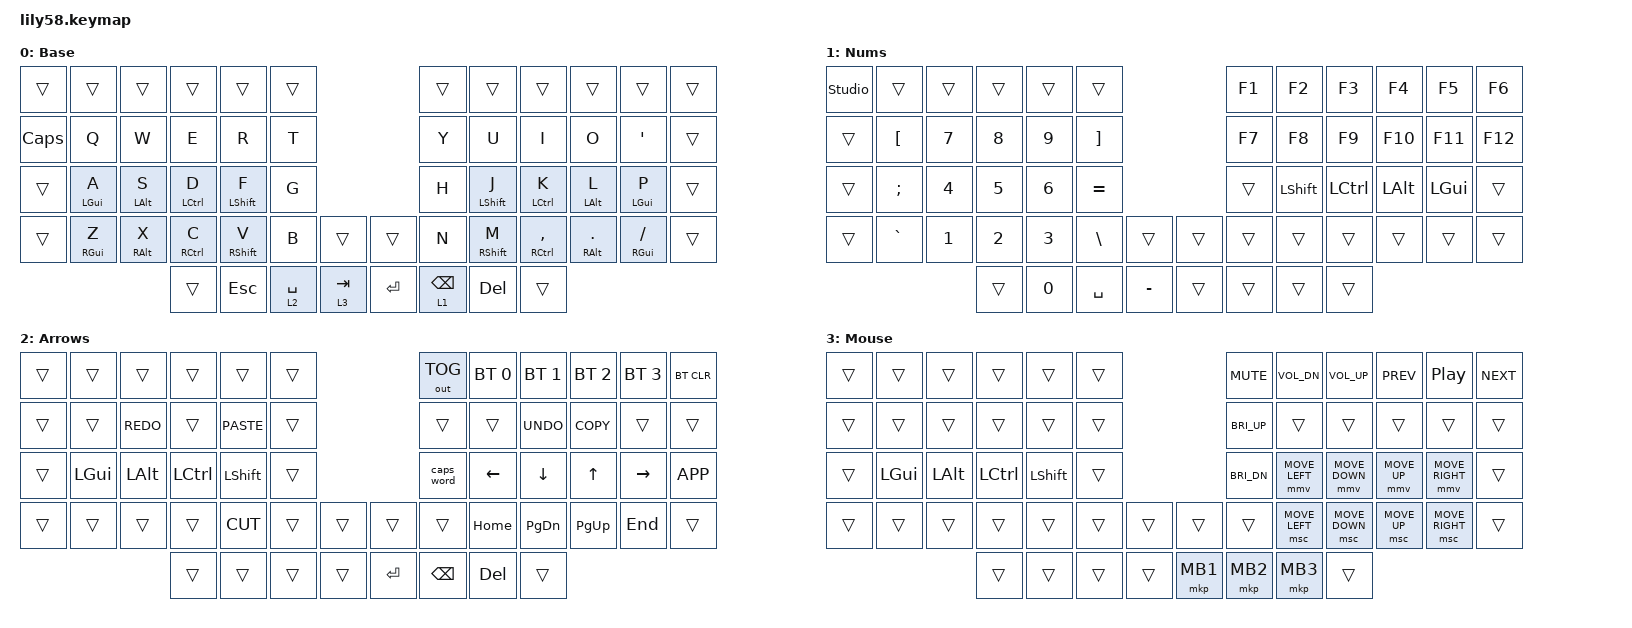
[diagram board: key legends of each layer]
/*
 * Copyright (c) 2020 The ZMK Contributors
 *
 * SPDX-License-Identifier: MIT
 */

#include <input/processors.dtsi>
#include <behaviors.dtsi>
#include <dt-bindings/zmk/bt.h>
#include <dt-bindings/zmk/keys.h>
#include <dt-bindings/zmk/outputs.h>
#include <dt-bindings/zmk/pointing.h>

#define BASE 0
#define RU 1
#define NUM 2
#define NAV 3
#define MOUSE 4
#define MS_SLOW 5
#define MS_MED 6
#define MS_FAST 7
#define MS_FASTER 8
#define GAMING 9

// Base mouse movement - accelerated, slightly faster than default

&mmv {
    time-to-max-speed-ms = <300>;
    acceleration-exponent = <2>;
};

// Set up input processors for different modifier speeds

&mmv_input_listener {
    mouse_slow {
        layers = <MS_SLOW>;
        input-processors = <&zip_xy_scaler 1 3>;
    };

    mouse_medium {
        layers = <MS_MED>;
        input-processors = <&zip_xy_scaler 3 2>;
    };

    mouse_fast {
        layers = <MS_FAST>;
        input-processors = <&zip_xy_scaler 5 2>;
    };

    mouse_faster {
        layers = <MS_FASTER>;
        input-processors = <&zip_xy_scaler 3 1>;
    };
};

&msc_input_listener {
    mouse_slow {
        layers = <MS_SLOW>;
        input-processors = <&zip_xy_scaler 1 10>;
    };

    mouse_medium {
        layers = <MS_MED>;
        input-processors = <&zip_xy_scaler 3 1>;
    };

    mouse_fast {
        layers = <MS_FAST>;
        input-processors = <&zip_xy_scaler 5 1>;
    };

    mouse_faster {
        layers = <MS_FASTER>;
        input-processors = <&zip_xy_scaler 10 1>;
    };
};

/ {
    combos {
        compatible = "zmk,combos";

        // Shift+' combo for RU layer: " is native in ЙЦУКЕН (Shift+2)

        combo_shift_sqt {
            timeout-ms = <80>;
            key-positions = <28 22>;
            bindings = <&kp LS(N2)>;
        };
    };

    macros {
        /**
            * Temporarily switches to a layer (&mo) while a modifier is held.
            * Analogous to QMK's LM(), using a parameterized macro.
            *
            * Params:
            * 1. Layer to switch to
            * 2. Modifier to press while layer is active
            *
            * Example:
            * &lm NUM_LAYER LSHIFT
            */

        lm: lm {
            compatible = "zmk,behavior-macro-two-param";
            wait-ms = <0>;
            tap-ms = <0>;
            #binding-cells = <2>;
            bindings =
                <&macro_press>,
                <&macro_param_1to1 &mo MACRO_PLACEHOLDER &macro_param_2to1 &kp MACRO_PLACEHOLDER>,
                <&macro_pause_for_release>,
                <&macro_release>,
                <&macro_param_1to1 &mo MACRO_PLACEHOLDER &macro_param_2to1 &kp MACRO_PLACEHOLDER>;
        };

        // Toggle OS input method (Caps Lock)

        lang_tog: lang_tog {
            compatible = "zmk,behavior-macro";
            #binding-cells = <0>;
            wait-ms = <0>;
            tap-ms = <30>;
            bindings = <&kp CAPSLOCK>;
        };

        // Switch to English: flip hw layer then notify OS

        layer_en: layer_en {
            compatible = "zmk,behavior-macro";
            #binding-cells = <0>;
            wait-ms = <30>;
            tap-ms = <30>;
            bindings = <&to 0 &lang_tog>;
        };

        // Switch to Russian: flip hw layer then notify OS

        layer_ru: layer_ru {
            compatible = "zmk,behavior-macro";
            #binding-cells = <0>;
            wait-ms = <30>;
            tap-ms = <30>;
            bindings = <&to 0 &lang_tog>;
        };

        // Type one key in English while OS is in Russian:
        // toggle OS to EN, hold key, release key, toggle OS back to RU.

        en_key: en_key {
            compatible = "zmk,behavior-macro-one-param";
            #binding-cells = <1>;
            wait-ms = <10>;
            tap-ms = <30>;
            bindings =
                <&macro_tap>,
                <&lang_tog>,
                <&macro_tap>,
                <&macro_param_1to1 &kp MACRO_PLACEHOLDER>,
                <&macro_tap>,
                <&lang_tog>;
        };

        // Momentary layer + toggle OS language on press/release.
        // Layer is pressed FIRST so it activates immediately (before CapsLock tap),
        // avoiding a 30ms window where keypresses land on the wrong layer.
        // NUM layer keys (kp LEFT_SHIFT, kp N1, etc.) are layout-independent.

        mo_lang: mo_lang {
            compatible = "zmk,behavior-macro-one-param";
            #binding-cells = <1>;
            wait-ms = <0>;
            tap-ms = <30>;
            bindings =
                <&macro_press>,
                <&macro_param_1to1 &mo MACRO_PLACEHOLDER>,
                <&macro_release>,
                <&kp LSHFT &kp RSHFT>,
                <&macro_tap>,
                <&lang_tog>,
                <&macro_pause_for_release>,
                <&macro_release>,
                <&macro_param_1to1 &mo MACRO_PLACEHOLDER>,
                <&macro_release>,
                <&kp LSHFT &kp RSHFT>,
                <&macro_tap>,
                <&lang_tog>;
        };
    };

    behaviors {
        // Home row mods — left hand (triggers on right-side keys only)

        hrml: hrml {
            compatible = "zmk,behavior-hold-tap";
            label = "HRML";
            bindings = <&kp>, <&kp>;

            #binding-cells = <2>;
            flavor = "balanced";
            tapping-term-ms = <180>;
            quick-tap-ms = <150>;
            require-prior-idle-ms = <20>;
            hold-trigger-key-positions = <6 7 8 9 10 11 18 19 20 21 22 23 30 31 32 33 34 35 43 44 45 46 47 54 55 56 57 48 49 52 53>;
            hold-trigger-on-release;
        };

        // Home row mods — left hand, no hold-trigger-on-release.
        // Used for Shift in RU layer so mm_sqt mod-morph reliably detects
        // Shift on key press (not delayed until release).

        hrml_norel: hrml_norel {
            compatible = "zmk,behavior-hold-tap";
            label = "HRML_NOREL";
            bindings = <&kp>, <&kp>;

            #binding-cells = <2>;
            flavor = "balanced";
            tapping-term-ms = <180>;
            quick-tap-ms = <150>;
            require-prior-idle-ms = <20>;
            hold-trigger-key-positions = <6 7 8 9 10 11 18 19 20 21 22 23 30 31 32 33 34 35 43 44 45 46 47 54 55 56 57 48 49 52 53>;
        };

        // Home row mods — right hand (triggers on left-side keys only)

        hrmr: hrmr {
            compatible = "zmk,behavior-hold-tap";
            label = "HRMR";
            bindings = <&kp>, <&kp>;

            #binding-cells = <2>;
            flavor = "balanced";
            tapping-term-ms = <180>;
            quick-tap-ms = <150>;
            require-prior-idle-ms = <20>;
            hold-trigger-key-positions = <0 1 2 3 4 5 12 13 14 15 16 17 24 25 26 27 28 29 36 37 38 39 40 41 50 51 52 53 42 54 55>;
            hold-trigger-on-release;
        };

        // Bottom row mods — left hand

        brml: brml {
            compatible = "zmk,behavior-hold-tap";
            label = "BRML";
            bindings = <&kp>, <&kp>;

            #binding-cells = <2>;
            flavor = "balanced";
            tapping-term-ms = <180>;
            quick-tap-ms = <150>;
            require-prior-idle-ms = <20>;
            hold-trigger-key-positions = <6 7 8 9 10 11 18 19 20 21 22 23 30 31 32 33 34 35 43 44 45 46 47 54 55 56 57 48 49 52 53>;
            hold-trigger-on-release;
        };

        // Bottom row mods — right hand

        brmr: brmr {
            compatible = "zmk,behavior-hold-tap";
            label = "BRMR";
            bindings = <&kp>, <&kp>;

            #binding-cells = <2>;
            flavor = "balanced";
            tapping-term-ms = <180>;
            quick-tap-ms = <150>;
            require-prior-idle-ms = <20>;
            hold-trigger-key-positions = <0 1 2 3 4 5 12 13 14 15 16 17 24 25 26 27 28 29 36 37 38 39 40 41 50 51 52 53 42 54 55>;
            hold-trigger-on-release;
        };

        // Layer-tap with language toggle — hold activates mo_lang, tap sends kp

        lt_lang: lt_lang {
            compatible = "zmk,behavior-hold-tap";
            label = "LT_LANG";
            bindings = <&mo_lang>, <&kp>;

            #binding-cells = <2>;
            flavor = "balanced";
            tapping-term-ms = <170>;
            quick-tap-ms = <140>;
        };

        // Layer-tap for thumb keys — left

        cltl: cltl {
            compatible = "zmk,behavior-hold-tap";
            label = "CLTL";
            bindings = <&mo>, <&kp>;

            #binding-cells = <2>;
            flavor = "balanced";
            tapping-term-ms = <180>;
            quick-tap-ms = <150>;
            require-prior-idle-ms = <20>;
            hold-trigger-key-positions = <6 7 8 9 10 11 18 19 20 21 22 23 30 31 32 33 34 35 43 44 45 46 47 54 55 56 57 48 49 52 53>;
        };

        // Layer-tap for thumb keys — right

        cltr: cltr {
            compatible = "zmk,behavior-hold-tap";
            label = "CLTR";
            bindings = <&mo>, <&kp>;

            #binding-cells = <2>;
            flavor = "balanced";
            tapping-term-ms = <180>;
            quick-tap-ms = <150>;
            require-prior-idle-ms = <20>;
            hold-trigger-key-positions = <0 1 2 3 4 5 12 13 14 15 16 17 24 25 26 27 28 29 36 37 38 39 40 41 50 51 52 53 42 54 55>;
        };

        // Mod-morphs for RU punctuation using native ЙЦУКЕН keycodes.
        // No CapsLock toggle needed — direct keycodes, zero latency.

        mm_sqt: mm_sqt {
            compatible = "zmk,behavior-mod-morph";
            #binding-cells = <0>;
            bindings = <&en_key SQT>, <&kp LS(N2)>;

            // ' (en_key) | " (Shift+2 in ЙЦУКЕН)

            mods = <(MOD_LSFT|MOD_RSFT)>;
        };

        mm_comma: mm_comma {
            compatible = "zmk,behavior-mod-morph";
            #binding-cells = <0>;
            bindings = <&kp LS(FSLH)>, <&kp LS(GRAVE)>;

            // , (Shift+/ in ЙЦУКЕН) | Ё (Shift+` in ЙЦУКЕН)

            mods = <(MOD_LSFT|MOD_RSFT)>;
        };

        mm_dot: mm_dot {
            compatible = "zmk,behavior-mod-morph";
            #binding-cells = <0>;
            bindings = <&kp FSLH>, <&kp GRAVE>;

            // . (/ in ЙЦУКЕН) | ё (` in ЙЦУКЕН)

            mods = <(MOD_LSFT|MOD_RSFT)>;
        };

        mm_fslh: mm_fslh {
            compatible = "zmk,behavior-mod-morph";
            #binding-cells = <0>;
            bindings = <&kp LS(BSLH)>, <&kp LS(N7)>;

            // / (Shift+\ in ЙЦУКЕН) | ? (Shift+7 in ЙЦУКЕН)

            mods = <(MOD_LSFT|MOD_RSFT)>;
        };
    };

    keymap {
        compatible = "zmk,keymap";

        // Layer 0: Colemak-DH, home row mods (GUI/ALT/CTRL/SHIFT), thumb layer-taps

        base {
            bindings = <
&trans        &trans             &trans             &trans                 &trans               &trans                             &trans           &trans               &trans                     &trans               &trans                &trans
&kp CAPSLOCK  &kp Q              &kp W              &kp E                  &kp R                &kp T                              &kp Y            &kp U                &kp I                      &kp O                &kp SQT               &trans
&trans        &hrml LEFT_GUI A   &hrml LEFT_ALT S   &hrml LEFT_CONTROL D   &hrml LEFT_SHIFT F   &kp G                              &kp H            &hrmr LEFT_SHIFT J   &hrmr LEFT_CONTROL K       &hrmr LEFT_ALT L     &hrmr LEFT_GUI P      &trans
&trans        &brml RIGHT_GUI Z  &brml RIGHT_ALT X  &brml RIGHT_CONTROL C  &brml RIGHT_SHIFT V  &kp B        &trans       &trans   &kp N            &brmr RIGHT_SHIFT M  &brmr RIGHT_CONTROL COMMA  &brmr RIGHT_ALT DOT  &brmr RIGHT_GUI FSLH  &trans
                                                    &trans                 &kp ESCAPE           &lt 2 SPACE  &lt 3 TAB    &kp RET  &lt 1 BACKSPACE  &kp DELETE           &trans
            >;

            label = "Base";
        };

        // Layer 1: Russian — Colemak-DH phonetic
        //   Number row: rare Cyrillic (ё ж ъ ь ч | ю э)
        //   Punctuation: , . / ? use native ЙЦУКЕН keycodes; ' uses en_key
        //   NUM thumb uses mo_lang to switch OS to EN while held
        // Home row: А Р С Т Г | М Н Е И О
        // Layer 2: Numbers, brackets, F-keys; right thumb activates

        nums {
            bindings = <
&studio_unlock  &trans     &trans  &trans  &trans  &trans                          &kp F1  &kp F2          &kp F3            &kp F4        &kp F5        &kp F6
&trans          &kp LBKT   &kp N7  &kp N8  &kp N9  &kp RBKT                        &kp F7  &kp F8          &kp F9            &kp F10       &kp F11       &kp F12
&trans          &kp SEMI   &kp N4  &kp N5  &kp N6  &kp EQUAL                       &trans  &kp LEFT_SHIFT  &kp LEFT_CONTROL  &kp LEFT_ALT  &kp LEFT_GUI  &trans
&trans          &kp GRAVE  &kp N1  &kp N2  &kp N3  &kp BSLH   &trans       &trans  &trans  &trans          &trans            &trans        &trans        &trans
                                   &trans  &kp N0  &kp SPACE  &kp MINUS    &trans  &trans  &trans          &trans
            >;

            label = "Nums";
        };

        // Layer 3: Navigation, undo/redo/cut/copy/paste, caps-word, BT/output; left thumb activates

        arrows {
            bindings = <
&trans  &trans        &trans        &trans            &trans          &trans                       &out OUT_TOG   &bt BT_SEL 0  &bt BT_SEL 1  &bt BT_SEL 2  &bt BT_SEL 3  &bt BT_CLR
&trans  &trans        &kp K_REDO    &trans            &kp K_PASTE     &trans                       &trans         &trans        &kp K_UNDO    &kp K_COPY    &trans        &trans
&trans  &kp LEFT_GUI  &kp LEFT_ALT  &kp LEFT_CONTROL  &kp LEFT_SHIFT  &trans                       &caps_word     &kp LEFT      &kp DOWN      &kp UP        &kp RIGHT     &kp K_APP
&trans  &trans        &trans        &trans            &kp K_CUT       &trans  &trans    &trans     &trans         &kp HOME      &kp PG_DN     &kp PG_UP     &kp END       &trans
                                    &trans            &trans          &trans  &trans    &kp ENTER  &kp BACKSPACE  &kp DELETE    &trans
            >;

            label = "Arrows";
        };

        // Layer 4: Mouse move/scroll/buttons, media, brightness; left thumb activates

        mouse {
            bindings = <
&trans  &trans        &trans        &trans            &trans          &trans                      &kp C_MUTE    &kp C_VOL_DN    &kp C_VOL_UP    &kp C_PREV    &kp C_PP         &kp C_NEXT
&trans  &trans        &trans        &trans            &trans          &trans                      &kp C_BRI_UP  &trans          &trans          &trans        &trans           &trans
&trans  &kp LEFT_GUI  &kp LEFT_ALT  &kp LEFT_CONTROL  &kp LEFT_SHIFT  &trans                      &kp C_BRI_DN  &mmv MOVE_LEFT  &mmv MOVE_DOWN  &mmv MOVE_UP  &mmv MOVE_RIGHT  &trans
&trans  &trans        &trans        &trans            &trans          &trans  &trans    &trans    &trans        &msc MOVE_LEFT  &msc MOVE_DOWN  &msc MOVE_UP  &msc MOVE_RIGHT  &trans
                                    &trans            &trans          &trans  &trans    &mkp MB1  &mkp MB2      &mkp MB3        &trans
            >;

            label = "Mouse";
        };

        // Layers 5-8: Speed sub-layers — fully transparent, movement keys fall through to Mouse.
        // Layer 9: Standard QWERTY for gaming; toggled with &tog GAMING
    };
};

// Local Variables:
// mode: c++
// eval: (apheleia-mode -1)
// End:
